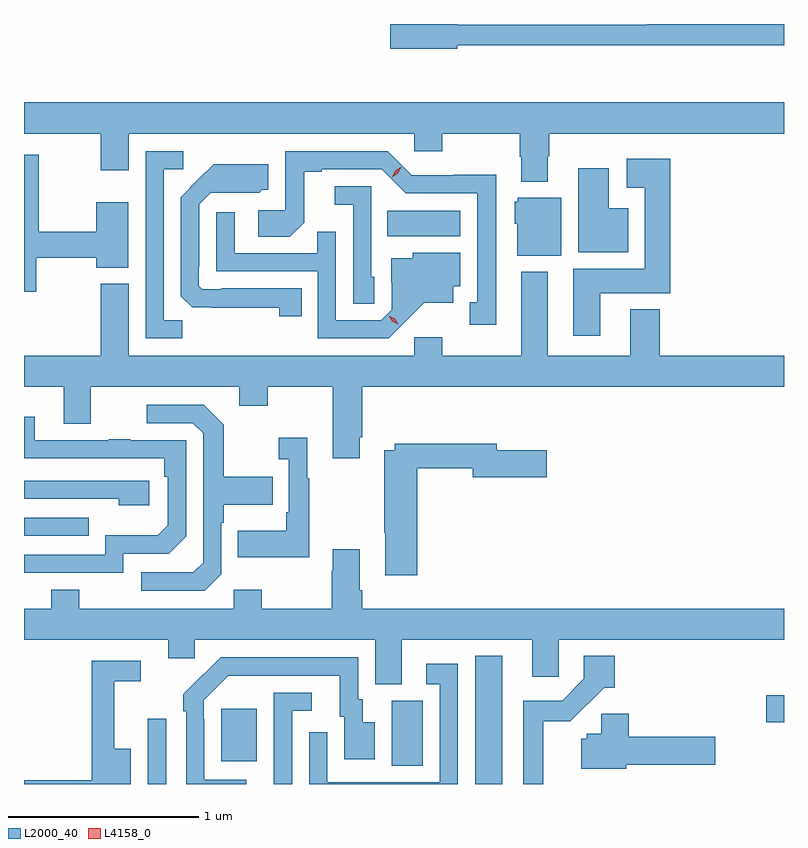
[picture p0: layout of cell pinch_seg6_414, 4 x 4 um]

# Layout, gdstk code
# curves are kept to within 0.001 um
import gdstk
lib = gdstk.Library(unit=1e-6, precision=1e-09)
def R(c, l, rs):  # rectangles x0, y0, x1, y1
    for r in rs: c.add(gdstk.rectangle(r[:2], r[2:], *l))
def P(c, l, *ps):  # polygons
    for p in ps: c.add(gdstk.Polygon(p, *l))
L2000_40 = (2000, 40)
L4158_0 = (4158, 0)

pinch_seg6_414 = lib.new_cell('pinch_seg6_414')
R(pinch_seg6_414, L2000_40, [(649.593,919.937,649.689,920.281), (651.317,919.937,651.457,920.611), (650.876,920.032,651.04,920.376), (649.979,920.057,650.167,920.332), (652.848,920.261,652.941,920.403), (648.941,921.243,649.283,921.339), (650.854,922.82,651.238,922.954)])
P(pinch_seg6_414, L2000_40, [(651.22,923.826),(652.941,923.826),(652.941,923.937),(652.222,923.937),(652.222,923.934),(651.22,923.934),(651.22,923.937),(650.868,923.937),(650.868,923.807),(651.22,923.807)],
  [(648.941,923.36),(649.345,923.36),(649.345,923.166),(649.492,923.166),(649.492,923.36),(650.994,923.36),(650.994,923.267),(651.141,923.267),(651.141,923.36),(651.55,923.36),(651.55,923.239),(651.557,923.239),(651.557,923.108),(651.697,923.108),(651.697,923.24),(651.705,923.24),(651.705,923.36),(652.941,923.36),(652.941,923.524),(648.941,923.524)],
  [(649.773,922.379),(649.677,922.379),(649.677,923.172),(649.78,923.172),(649.78,923.268),(649.581,923.268),(649.581,922.284),(649.773,922.284)],
  [(651.427,923.144),(651.204,923.144),(651.204,923.142),(650.982,923.142),(650.856,923.268),(650.316,923.268),(650.316,922.956),(650.175,922.956),(650.175,922.816),(650.339,922.816),(650.415,922.892),(650.415,923.16),(650.509,923.16),(650.509,923.172),(650.823,923.172),(650.949,923.046),(651.326,923.046),(651.326,922.473),(651.287,922.473),(651.287,922.353),(651.427,922.353)],
  [(649.006,922.708),(649.322,922.708),(649.322,922.655),(649.489,922.655),(649.489,922.999),(649.322,922.999),(649.322,922.844),(649.018,922.844),(649.018,923.25),(648.941,923.25),(648.941,922.529),(649.006,922.529)],
  [(651.973,922.52),(652.343,922.52),(652.343,923.227),(652.113,923.227),(652.113,923.075),(652.208,923.075),(652.208,922.648),(651.833,922.648),(651.833,922.296),(651.973,922.296)],
  [(650.402,922.545),(649.978,922.545),(649.978,922.542),(649.878,922.542),(649.86,922.56),(649.86,922.66),(649.863,922.66),(649.863,922.989),(649.923,923.049),(650.18,923.048),(650.196,923.064),(650.227,923.064),(650.227,923.2),(649.939,923.2),(649.767,923.026),(649.767,922.504),(649.826,922.445),(650.284,922.444),(650.284,922.398),(650.402,922.398)],
  [(652.12,922.966),(652.018,922.966),(652.018,923.179),(651.857,923.179),(651.857,922.736),(652.12,922.736)],
  [(650.784,922.608),(650.769,922.608),(650.769,923.082),(650.577,923.082),(650.577,922.985),(650.673,922.985),(650.673,922.465),(650.784,922.465)],
  [(651.769,923.023),(651.54,923.023),(651.54,923.001),(651.524,923.001),(651.524,922.887),(651.536,922.887),(651.536,922.718),(651.769,922.718)],
  [(650.944,922.367),(651.047,922.469),(651.199,922.469),(651.199,922.556),(651.238,922.556),(651.238,922.732),(650.988,922.732),(650.988,922.705),(650.873,922.705),(650.873,922.576),(650.877,922.576),(650.877,922.434),(650.82,922.377),(650.583,922.377),(650.583,922.844),(650.485,922.844),(650.485,922.731),(650.049,922.731),(650.049,922.945),(649.953,922.945),(649.953,922.635),(650.487,922.635),(650.487,922.284),(650.86,922.284)],
  [(650.707,921.763),(650.72,921.763),(650.72,922.028),(652.941,922.028),(652.941,922.192),(652.286,922.192),(652.286,922.435),(652.133,922.435),(652.133,922.192),(651.697,922.192),(651.697,922.633),(651.557,922.633),(651.557,922.192),(651.141,922.192),(651.141,922.288),(650.994,922.288),(650.994,922.192),(649.492,922.192),(649.492,922.57),(649.345,922.57),(649.345,922.192),(648.941,922.192),(648.941,922.028),(649.151,922.028),(649.151,921.834),(649.291,921.834),(649.291,922.028),(650.075,922.028),(650.075,921.929),(650.223,921.929),(650.223,922.028),(650.567,922.028),(650.567,921.651),(650.707,921.651)],
  [(649.98,921.042),(649.98,921.311),(649.993,921.311),(649.993,921.407),(650.249,921.407),(650.249,921.555),(649.993,921.555),(649.993,921.827),(649.887,921.933),(649.587,921.933),(649.587,921.837),(649.83,921.837),(649.884,921.783),(649.884,921.102),(649.833,921.051),(649.557,921.051),(649.557,920.955),(649.893,920.955)],
  [(649.464,921.15),(649.704,921.15),(649.794,921.24),(649.794,921.747),(649.499,921.747),(649.499,921.752),(649.387,921.752),(649.387,921.747),(648.997,921.747),(648.997,921.871),(648.941,921.871),(648.941,921.652),(649.678,921.651),(649.678,921.554),(649.698,921.554),(649.698,921.3),(649.645,921.247),(649.368,921.247),(649.368,921.144),(648.941,921.144),(648.941,921.048),(649.464,921.048)],
  [(650.443,921.547),(650.431,921.547),(650.431,921.76),(650.283,921.76),(650.283,921.647),(650.334,921.647),(650.334,921.367),(650.322,921.367),(650.322,921.271),(650.065,921.271),(650.065,921.131),(650.443,921.131)],
  [(651.011,921.598),(651.302,921.598),(651.302,921.551),(651.691,921.551),(651.691,921.693),(651.43,921.693),(651.43,921.727),(650.892,921.727),(650.892,921.694),(650.836,921.694),(650.836,921.259),(650.843,921.259),(650.843,921.036),(651.011,921.036)],
  [(649.6,921.534),(648.941,921.534),(648.941,921.438),(649.439,921.438),(649.439,921.404),(649.6,921.404)],
  [(650.929,920.696),(651.617,920.696),(651.617,920.502),(651.756,920.502),(651.756,920.696),(652.941,920.696),(652.941,920.86),(650.72,920.86),(650.72,920.956),(650.707,920.956),(650.707,921.172),(650.567,921.172),(650.567,921.059),(650.56,921.059),(650.56,920.86),(650.193,920.86),(650.193,920.959),(650.046,920.959),(650.046,920.86),(649.233,920.86),(649.233,920.959),(649.085,920.959),(649.085,920.86),(648.941,920.86),(648.941,920.696),(649.7,920.696),(649.7,920.598),(649.839,920.598),(649.839,920.696),(650.789,920.696),(650.789,920.461),(650.929,920.461)],
  [(651.673,920.267),(651.817,920.267),(651.995,920.444),(652.049,920.444),(652.049,920.611),(651.888,920.611),(651.888,920.49),(651.774,920.376),(651.569,920.376),(651.569,919.937),(651.673,919.937)],
  [(650.11,919.959),(649.89,919.959),(649.89,920.279),(649.887,920.279),(649.887,920.379),(650.016,920.508),(650.603,920.508),(650.603,920.292),(650.627,920.292),(650.627,920.067),(650.788,920.067),(650.788,920.263),(650.725,920.263),(650.725,920.382),(650.7,920.382),(650.7,920.604),(649.976,920.604),(649.779,920.409),(649.779,920.321),(649.794,920.321),(649.794,919.937),(650.11,919.937)],
  [(649.504,920.122),(649.415,920.122),(649.415,920.478),(649.555,920.478),(649.555,920.586),(649.297,920.586),(649.297,919.958),(648.941,919.958),(648.941,919.937),(649.504,919.937)],
  [(651.225,920.569),(651.057,920.569),(651.057,920.463),(651.129,920.463),(651.129,919.947),(650.538,919.947),(650.538,920.209),(650.442,920.209),(650.442,919.954),(650.443,919.954),(650.443,919.937),(651.225,919.937)],
  [(650.352,920.322),(650.455,920.322),(650.455,920.418),(650.256,920.418),(650.256,919.961),(650.255,919.961),(650.255,919.937),(650.352,919.937)],
  [(652.111,920.039),(652.579,920.039),(652.579,920.186),(652.124,920.186),(652.124,920.307),(651.979,920.307),(651.979,920.202),(651.903,920.202),(651.903,920.175),(651.875,920.175),(651.875,920.018),(652.111,920.018)])
P(pinch_seg6_414, L4158_0, [(650.878,923.131),(650.878,923.132),(650.894,923.164),(650.925,923.184),(650.926,923.184),(650.926,923.183),(650.909,923.151),(650.878,923.131)],
  [(650.91,922.357),(650.879,922.373),(650.861,922.402),(650.861,922.402),(650.862,922.402),(650.893,922.387),(650.91,922.358),(650.91,922.357)])

lib.write_gds('pinch_seg6_414.gds')
